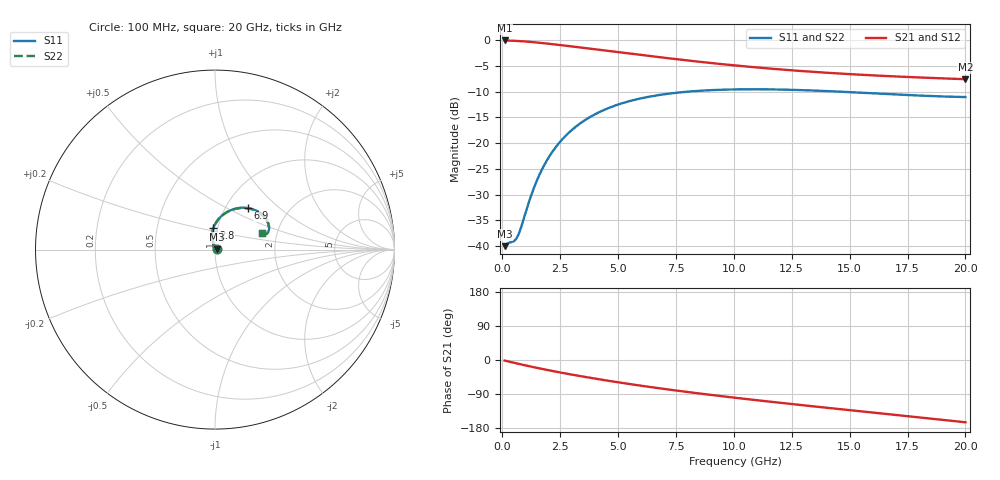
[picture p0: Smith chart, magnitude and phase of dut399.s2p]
! Touchstone file exported from HFSS 2024.1.0
!  File:  C:/UserFiles/LocalFiles/RDL_TSV_Batchsim/temp_RDL_TSV_399_1779649489.aedt
!  Generated:  03:17:34 AM May 25, 2026
!  Design:  RDL_TSV
!  Project:  temp_RDL_TSV_399_1779649489
!  Setup:  Setup1
!  Solution:  Sweep
! Variables:
!  dtsv = 9.89um
!  hbump = 3um
!  htsv = 52.04um
!  ldown = 451.15um
!  lrdl = 300.02um
!  p = 40
!  p1 = 53.47um
!  rhole = 10um
!  subl = 2553.53um
!  t = 450um
!  tdown = 4.09um
!  trdl = 4.6um
!  viad = 10um
!  wdown = 22.33um
!  wrdl = 25.16um
!  xbump = 18um
# GHz S MA R 50.000000
! Terminal data exported
! Port[1] = TM1_1_T1
! Port[2] = TM1_4_T1
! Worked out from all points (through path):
!   200 points, 100 MHz to 20 GHz, reference 50 ohm
!   highest |S21| = -0.09 dB at 100 MHz (marker M1); lowest = -7.6 dB at 20 GHz (marker M2)
!   group delay of S21, straight-line fit = 21.5 ps
!   lowest |S11| = -40.0 dB at 100 MHz (marker M3), VSWR 1.02, Z = 51 + j0.207 ohm
!   |S11| at or under -10 dB: start of sweep to 8.079 GHz; 14.45 GHz to end of sweep
!   |S22| runs from -40.0 to -9.6 dB; largest |S21 - S12| = 1.5e-14
!   S11 on the Smith chart (normalised r, x): 100 MHz: 1.02, +0.00; 2.8 GHz: 0.95, +0.24; 6.9 GHz: 1.27, +0.64; 20 GHz: 1.68, +0.33
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0.1  0.009977 11.7  0.9898 -1.5  0.9898 -1.5  0.009978 11.7
! Gamma 0 0 0 0
! Port Impedance 50 0 50 0
0.2  0.01052 20.5  0.9886 -3.0  0.9886 -3.0  0.01053 20.5
0.5  0.01114 47.1  0.9828 -7.3  0.9828 -7.3  0.01115 47.0
0.6  0.01174 58.7  0.9803 -8.7  0.9803 -8.7  0.01174 58.5
0.7  0.01296 70.4  0.9774 -10.1  0.9774 -10.1  0.01296 70.1
0.8  0.0149 80.6  0.9743 -11.5  0.9743 -11.5  0.01489 80.3
1.3  0.03348 103.7  0.9545 -18.2  0.9545 -18.2  0.03336 103.5
1.7  0.0546 105.1  0.9354 -23.3  0.9354 -23.3  0.05438 105.0
2.2  0.08445 101.2  0.9093 -29.4  0.9093 -29.4  0.08408 101.1
2.8  0.1215 94.0  0.8771 -36.3  0.8771 -36.3  0.121 93.9
3.5  0.1629 85.2  0.8396 -43.9  0.8396 -43.9  0.1622 85.1
4.2  0.2001 76.9  0.8031 -51.1  0.8031 -51.1  0.1992 76.8
4.9  0.2321 69.3  0.7679 -57.9  0.7679 -57.9  0.231 69.2
5.8  0.2655 60.7  0.7249 -66.2  0.7249 -66.2  0.2642 60.5
6.8  0.2932 52.3  0.6807 -74.8  0.6807 -74.8  0.2917 52.2
6.9  0.2954 51.5  0.6765 -75.6  0.6765 -75.6  0.294 51.4
8.4  0.3202 41.4  0.6188 -87.5  0.6188 -87.5  0.3185 41.3
10.1  0.3316 32.5  0.565 -100.0  0.565 -100.0  0.3299 32.3
11.7  0.3314 26.1  0.5247 -110.9  0.5247 -110.9  0.3295 26.0
13.4  0.3235 21.2  0.4911 -122.1  0.4911 -122.1  0.3216 21.1
16.7  0.2984 17.0  0.4457 -143.2  0.4457 -143.2  0.2965 16.9
20  0.2794 19.1  0.4166 -164.3  0.4166 -164.3  0.2777 19.0
